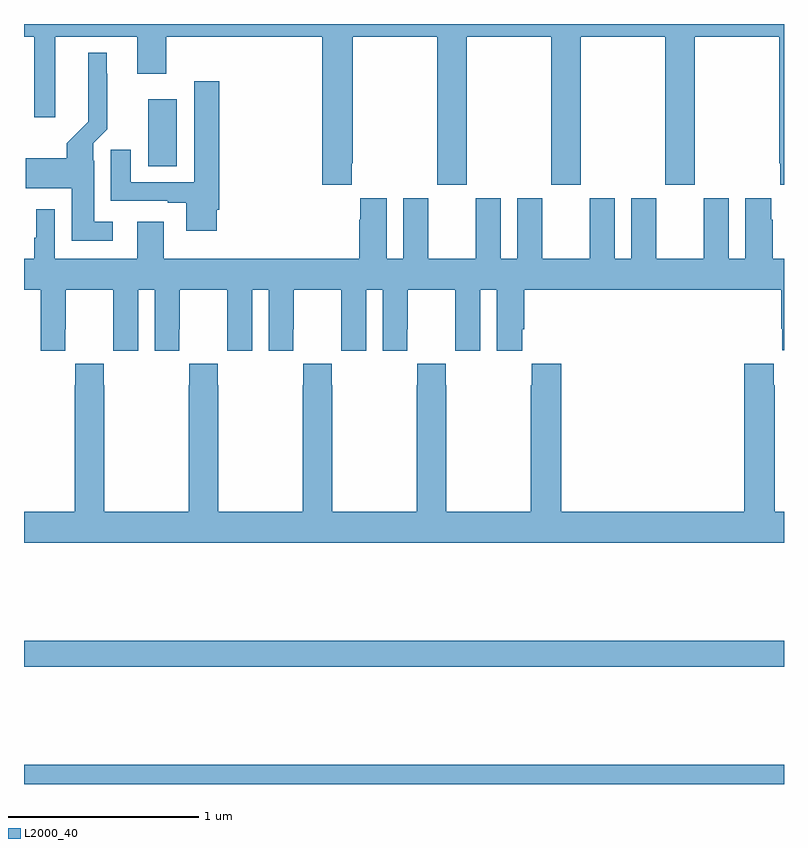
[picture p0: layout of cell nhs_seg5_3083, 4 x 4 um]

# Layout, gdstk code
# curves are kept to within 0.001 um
import gdstk
lib = gdstk.Library(unit=1e-6, precision=1e-09)
def R(c, l, rs):  # rectangles x0, y0, x1, y1
    for r in rs: c.add(gdstk.rectangle(r[:2], r[2:], *l))
def P(c, l, *ps):  # polygons
    for p in ps: c.add(gdstk.Polygon(p, *l))
L2000_40 = (2000, 40)

nhs_seg5_3083 = lib.new_cell('nhs_seg5_3083')
R(nhs_seg5_3083, L2000_40, [(289,880.799,293,880.9), (289,881.416,293,881.552), (289.655,884.05,289.804,884.404)])
P(nhs_seg5_3083, L2000_40, [(290.725,884.065),(290.73,884.065),(290.73,884.732),(291.175,884.732),(291.175,883.953),(291.33,883.953),(291.33,884.732),(291.775,884.732),(291.775,883.953),(291.93,883.953),(291.93,884.732),(292.375,884.732),(292.375,883.953),(292.53,883.953),(292.53,884.732),(292.975,884.732),(292.975,884.065),(292.979,884.065),(292.979,883.953),(293,883.953),(293,884.799),(289,884.799),(289,884.732),(289.055,884.732),(289.055,884.307),(289.165,884.307),(289.165,884.732),(289.595,884.732),(289.595,884.538),(289.748,884.538),(289.748,884.732),(290.57,884.732),(290.57,883.953),(290.725,883.953)],
  [(289.468,883.759),(289.369,883.759),(289.369,884.078),(289.365,884.078),(289.365,884.172),(289.439,884.246),(289.439,884.537),(289.435,884.537),(289.435,884.647),(289.337,884.647),(289.338,884.284),(289.225,884.171),(289.225,884.092),(289.008,884.092),(289.008,883.934),(289.25,883.934),(289.25,883.658),(289.468,883.658)],
  [(290.014,883.822),(290.027,883.822),(290.027,884.497),(289.895,884.497),(289.895,883.965),(289.561,883.965),(289.561,884.137),(289.457,884.137),(289.457,883.869),(289.757,883.869),(289.757,883.857),(289.853,883.857),(289.853,883.71),(290.014,883.71)],
  [(289.218,883.192),(289.219,883.192),(289.219,883.4),(289.469,883.4),(289.469,883.192),(289.47,883.192),(289.47,883.08),(289.6,883.08),(289.6,883.4),(289.688,883.4),(289.688,883.08),(289.818,883.08),(289.818,883.192),(289.819,883.192),(289.819,883.4),(290.069,883.4),(290.069,883.192),(290.07,883.192),(290.07,883.08),(290.2,883.08),(290.2,883.4),(290.288,883.4),(290.288,883.08),(290.418,883.08),(290.418,883.192),(290.419,883.192),(290.419,883.4),(290.669,883.4),(290.669,883.192),(290.67,883.192),(290.67,883.08),(290.8,883.08),(290.8,883.4),(290.888,883.4),(290.888,883.08),(291.018,883.08),(291.018,883.192),(291.019,883.192),(291.019,883.4),(291.269,883.4),(291.269,883.192),(291.27,883.192),(291.27,883.08),(291.4,883.08),(291.4,883.4),(291.488,883.4),(291.488,883.08),(291.622,883.08),(291.622,883.192),(291.632,883.192),(291.632,883.4),(292.985,883.4),(292.985,883.195),(292.991,883.195),(292.991,883.083),(293,883.083),(293,883.564),(292.94,883.564),(292.94,883.769),(292.933,883.769),(292.933,883.882),(292.796,883.882),(292.796,883.564),(292.708,883.564),(292.708,883.882),(292.577,883.882),(292.577,883.564),(292.327,883.564),(292.327,883.882),(292.196,883.882),(292.196,883.564),(292.108,883.564),(292.108,883.882),(291.977,883.882),(291.977,883.564),(291.727,883.564),(291.727,883.882),(291.596,883.882),(291.596,883.564),(291.508,883.564),(291.508,883.882),(291.377,883.882),(291.377,883.564),(291.127,883.564),(291.127,883.882),(290.996,883.882),(290.996,883.564),(290.908,883.564),(290.908,883.882),(290.771,883.882),(290.771,883.769),(290.765,883.769),(290.765,883.564),(289.735,883.564),(289.735,883.759),(289.595,883.759),(289.595,883.564),(289.161,883.564),(289.161,883.825),(289.064,883.825),(289.064,883.673),(289.053,883.673),(289.053,883.564),(289,883.564),(289,883.4),(289.088,883.4),(289.088,883.08),(289.218,883.08)],
  [(293,882.232),(292.95,882.232),(292.95,882.899),(292.945,882.899),(292.945,883.012),(292.79,883.012),(292.79,882.232),(291.827,882.232),(291.827,883.012),(291.673,883.012),(291.673,882.899),(291.667,882.899),(291.667,882.232),(291.222,882.232),(291.222,882.899),(291.219,882.899),(291.219,883.012),(291.069,883.012),(291.069,882.899),(291.067,882.899),(291.067,882.232),(290.622,882.232),(290.622,882.899),(290.619,882.899),(290.619,883.012),(290.469,883.012),(290.469,882.899),(290.467,882.899),(290.467,882.232),(290.022,882.232),(290.022,882.899),(290.019,882.899),(290.019,883.012),(289.869,883.012),(289.869,882.899),(289.867,882.899),(289.867,882.232),(289.422,882.232),(289.422,882.899),(289.419,882.899),(289.419,883.012),(289.269,883.012),(289.269,882.899),(289.267,882.899),(289.267,882.232),(289,882.232),(289,882.068),(293,882.068)])

lib.write_gds('nhs_seg5_3083.gds')
